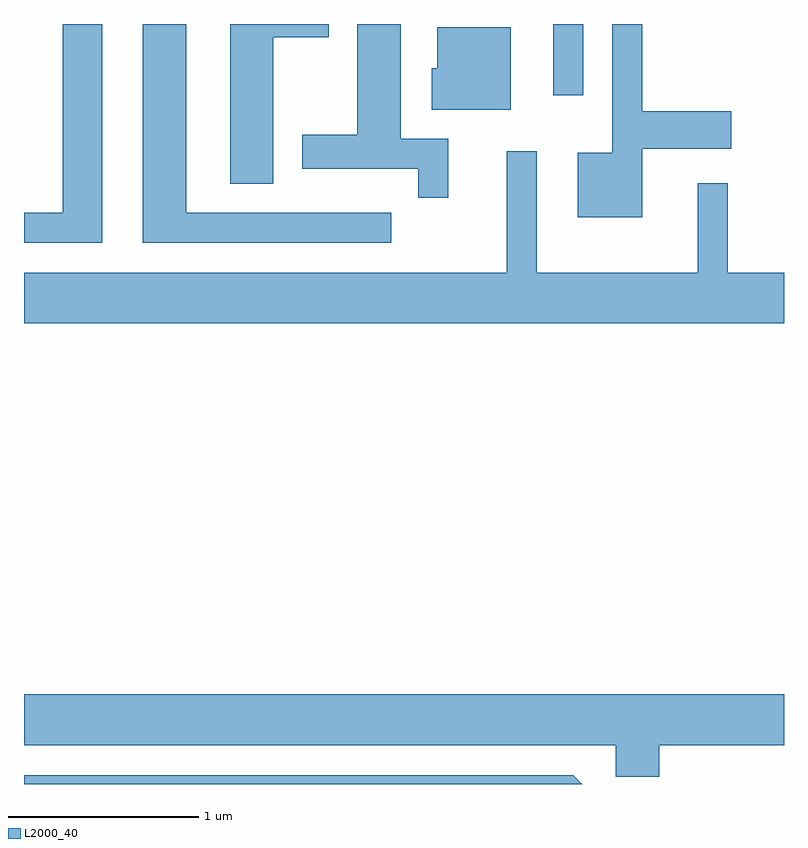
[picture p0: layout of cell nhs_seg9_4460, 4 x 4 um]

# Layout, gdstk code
import gdstk
lib = gdstk.Library(unit=1e-6, precision=1e-09)
def R(c, l, rs):  # rectangles x0, y0, x1, y1
    for r in rs: c.add(gdstk.rectangle(r[:2], r[2:], *l))
def P(c, l, *ps):  # polygons
    for p in ps: c.add(gdstk.Polygon(p, *l))
L2000_40 = (2000, 40)

nhs_seg9_4460 = lib.new_cell('nhs_seg9_4460')
R(nhs_seg9_4460, L2000_40, [(318.396,2064.058,318.554,2064.432)])
P(nhs_seg9_4460, L2000_40, [(316.924,2064.361),(317.214,2064.361),(317.214,2064.432),(316.696,2064.432),(316.696,2063.591),(316.924,2063.591)],
  [(318.864,2063.776),(319.334,2063.776),(319.334,2063.974),(318.864,2063.974),(318.864,2064.432),(318.706,2064.432),(318.706,2063.754),(318.526,2063.754),(318.526,2063.416),(318.864,2063.416)],
  [(317.543,2063.439),(316.464,2063.439),(316.464,2064.432),(316.236,2064.432),(316.236,2063.281),(317.543,2063.281)],
  [(316.024,2064.432),(315.816,2064.432),(315.816,2063.439),(315.611,2063.439),(315.611,2063.281),(316.024,2063.281)],
  [(317.844,2063.829),(317.594,2063.829),(317.594,2064.432),(317.366,2064.432),(317.366,2063.849),(317.076,2063.849),(317.076,2063.671),(317.686,2063.671),(317.686,2063.518),(317.844,2063.518)],
  [(318.174,2064.414),(317.786,2064.414),(317.786,2064.199),(317.756,2064.199),(317.756,2063.981),(318.174,2063.981)],
  [(319.611,2063.124),(319.314,2063.124),(319.314,2063.593),(319.156,2063.593),(319.156,2063.124),(318.309,2063.124),(318.309,2063.762),(318.151,2063.762),(318.151,2063.124),(315.611,2063.124),(315.611,2062.856),(319.611,2062.856)],
  [(318.954,2060.636),(319.611,2060.636),(319.611,2060.904),(315.611,2060.904),(315.611,2060.636),(318.726,2060.636),(318.726,2060.471),(318.954,2060.471)],
  [(318.502,2060.479),(315.611,2060.479),(315.611,2060.432),(318.549,2060.432)])

lib.write_gds('nhs_seg9_4460.gds')
